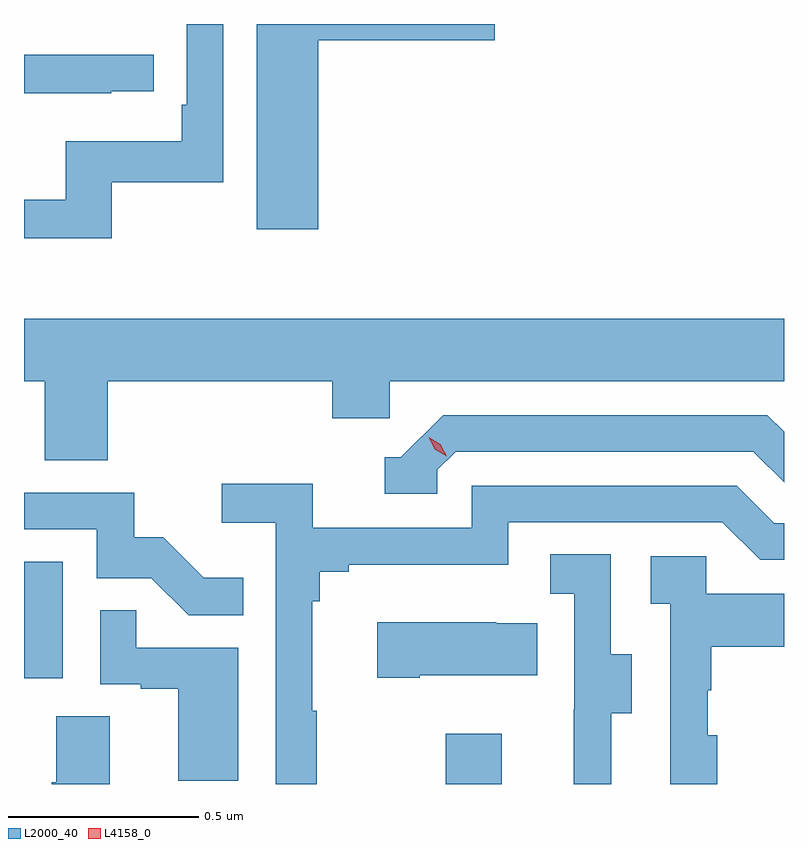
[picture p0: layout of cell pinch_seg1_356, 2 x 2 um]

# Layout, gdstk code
import gdstk
lib = gdstk.Library(unit=1e-6, precision=1e-09)
def R(c, l, rs):  # rectangles x0, y0, x1, y1
    for r in rs: c.add(gdstk.rectangle(r[:2], r[2:], *l))
def P(c, l, *ps):  # polygons
    for p in ps: c.add(gdstk.Polygon(p, *l))
L2000_40 = (2000, 40)
L4158_0 = (4158, 0)

pinch_seg1_356 = lib.new_cell('pinch_seg1_356')
R(pinch_seg1_356, L2000_40, [(955.036,548.008,955.183,548.14), (953.926,548.286,954.028,548.593)])
P(pinch_seg1_356, L2000_40, [(954.157,549.591),(954.45,549.591),(954.45,550.008),(954.354,550.008),(954.354,549.796),(954.341,549.796),(954.341,549.7),(954.036,549.7),(954.036,549.545),(953.926,549.545),(953.926,549.444),(954.157,549.444)],
  [(954.7,549.965),(955.165,549.965),(955.165,550.008),(954.539,550.008),(954.539,549.468),(954.7,549.468)],
  [(954.155,549.831),(954.268,549.831),(954.268,549.927),(953.926,549.927),(953.926,549.826),(954.155,549.826)],
  [(954.146,549.068),(954.737,549.068),(954.737,548.97),(954.888,548.97),(954.888,549.068),(955.926,549.068),(955.926,549.232),(953.926,549.232),(953.926,549.068),(953.981,549.068),(953.981,548.86),(954.146,548.86)],
  [(955.014,548.835),(955.062,548.883),(955.845,548.883),(955.926,548.802),(955.926,548.935),(955.882,548.979),(955.029,548.979),(954.918,548.868),(954.875,548.868),(954.875,548.772),(955.014,548.772)],
  [(954.697,548.201),(954.685,548.201),(954.685,548.489),(954.704,548.489),(954.704,548.566),(954.781,548.566),(954.781,548.585),(955.2,548.585),(955.2,548.697),(955.764,548.697),(955.863,548.598),(955.926,548.598),(955.926,548.694),(955.9,548.694),(955.801,548.793),(955.104,548.793),(955.104,548.682),(954.686,548.682),(954.686,548.798),(954.447,548.798),(954.447,548.696),(954.588,548.696),(954.588,548.008),(954.697,548.008)],
  [(954.503,548.551),(954.399,548.551),(954.292,548.658),(954.216,548.658),(954.216,548.775),(953.926,548.775),(953.926,548.679),(954.117,548.679),(954.117,548.55),(954.261,548.55),(954.359,548.452),(954.503,548.452)],
  [(955.471,548.194),(955.525,548.194),(955.525,548.349),(955.47,548.349),(955.47,548.612),(955.311,548.612),(955.311,548.509),(955.374,548.509),(955.374,548.205),(955.373,548.205),(955.373,548.008),(955.471,548.008)],
  [(955.75,548.136),(955.725,548.136),(955.725,548.255),(955.735,548.255),(955.735,548.369),(955.926,548.369),(955.926,548.509),(955.722,548.509),(955.722,548.607),(955.575,548.607),(955.575,548.483),(955.626,548.483),(955.626,548.008),(955.75,548.008)],
  [(954.49,548.367),(954.221,548.367),(954.221,548.465),(954.126,548.465),(954.126,548.271),(954.233,548.271),(954.233,548.259),(954.332,548.259),(954.332,548.016),(954.49,548.016)],
  [(954.967,548.294),(955.277,548.294),(955.277,548.431),(955.169,548.431),(955.169,548.434),(954.855,548.434),(954.855,548.287),(954.967,548.287)],
  [(954.151,548.186),(954.011,548.186),(954.011,548.012),(953.999,548.012),(953.999,548.008),(954.151,548.008)])
P(pinch_seg1_356, L4158_0, [(955.038,548.87),(955.007,548.889),(954.991,548.921),(954.991,548.921),(954.991,548.921),(955.022,548.902),(955.038,548.87),(955.038,548.87)])

lib.write_gds('pinch_seg1_356.gds')
